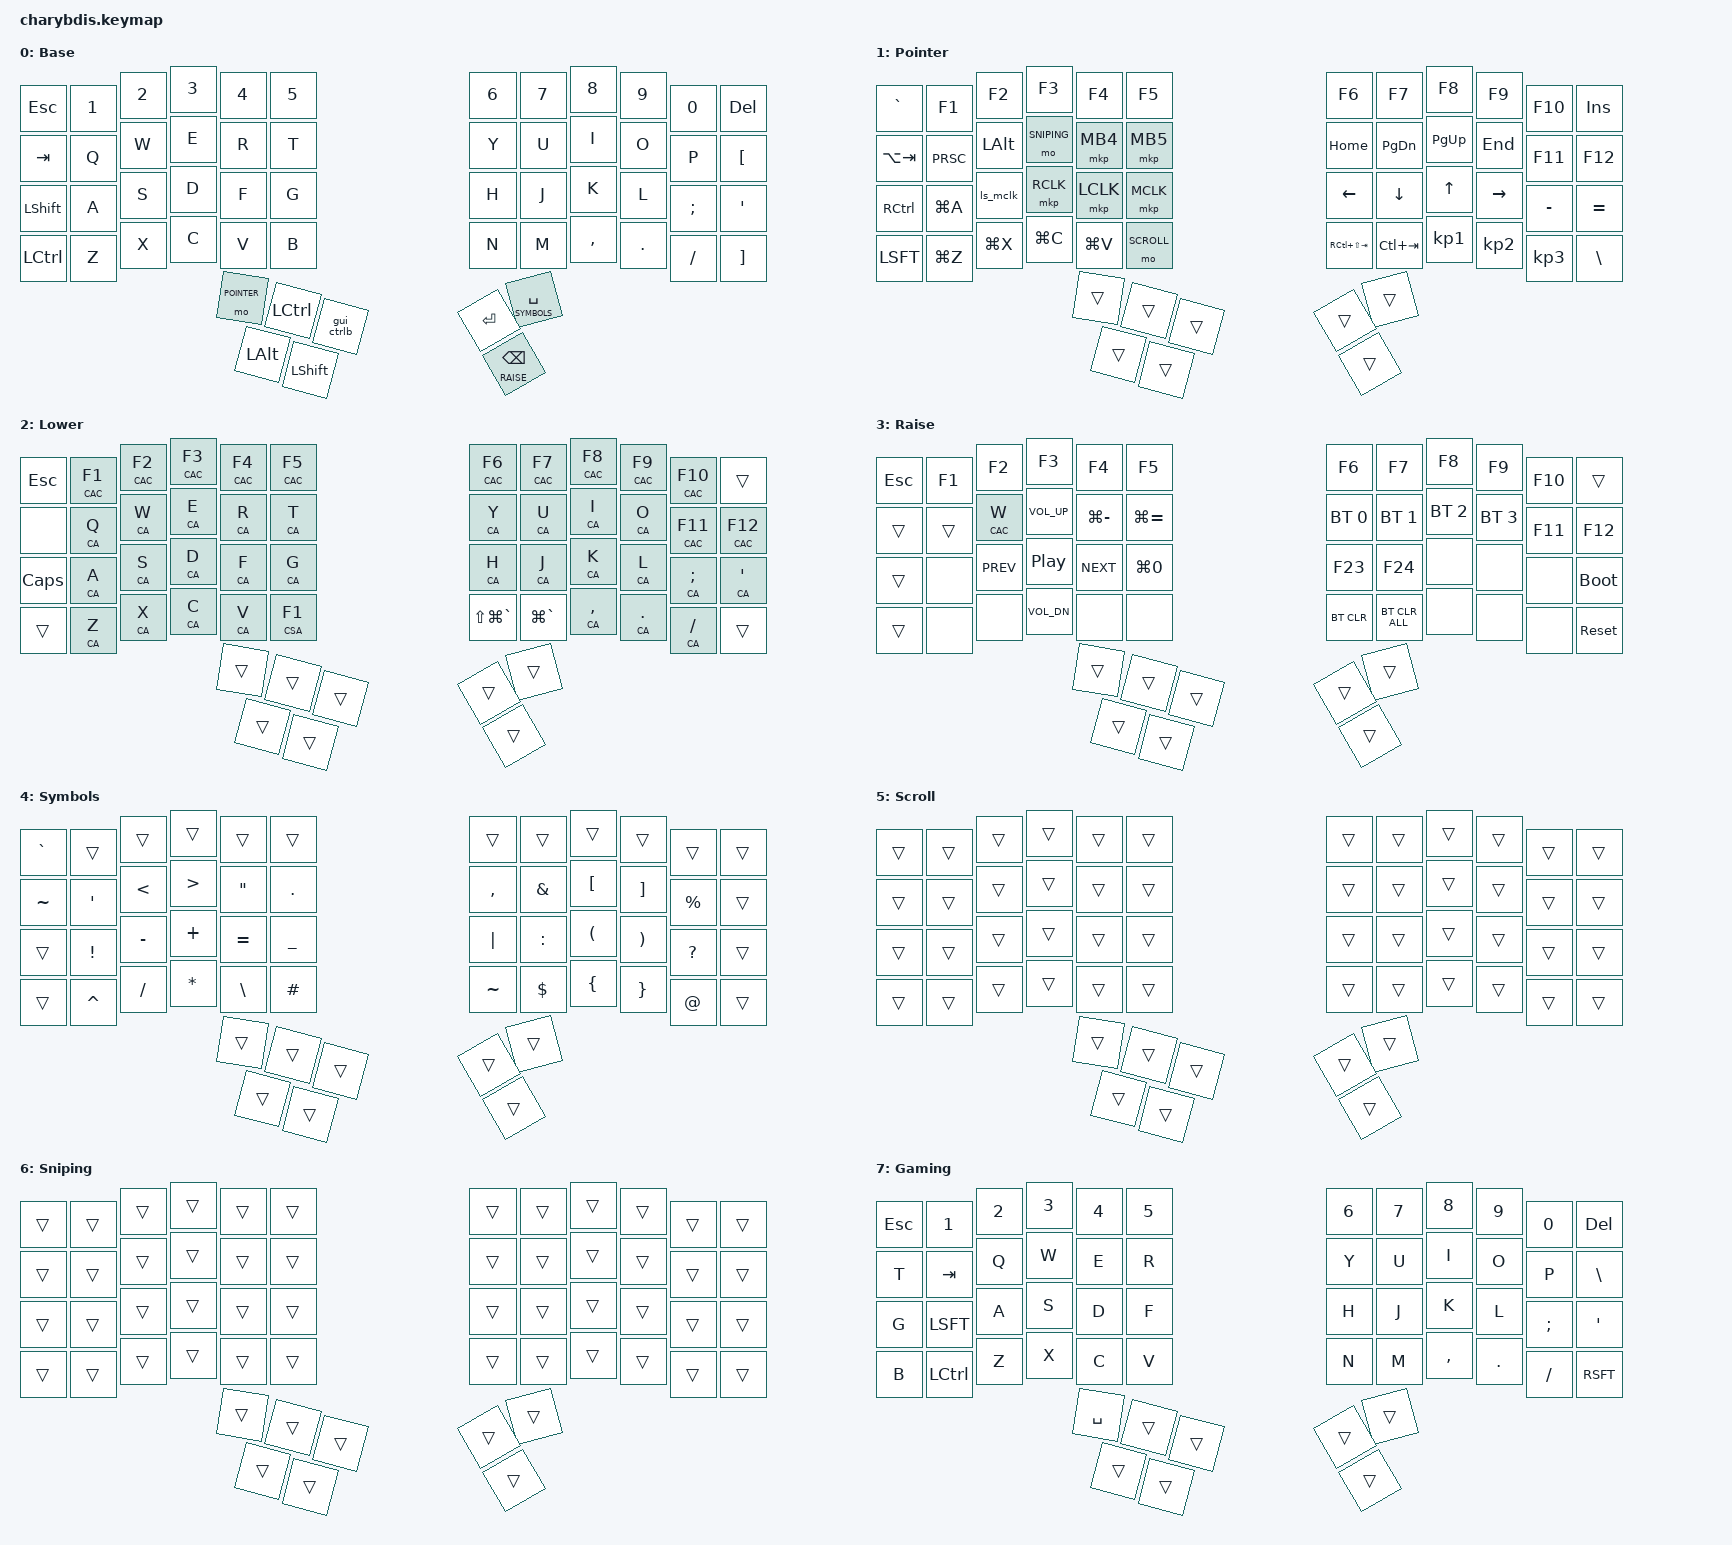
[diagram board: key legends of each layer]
#include <dt-bindings/zmk/mouse.h>
#include <behaviors/mouse_keys.dtsi>
#include <behaviors.dtsi>
#include <dt-bindings/zmk/bt.h>
#include <dt-bindings/zmk/keys.h>
#include <dt-bindings/zmk/outputs.h>
#include <dt-bindings/zmk/pointing.h>

/ {
    chosen { zmk,physical-layout = &charybdis_6col_layout; };
};

&mt {
    quick-tap-ms = <200>;
    flavor = "tap-preferred";
    tapping-term-ms = <170>;
};

&lt {
    quick-tap-ms = <200>;
    flavor = "tap-preferred";
    tapping-term-ms = <170>;
};

// Layer definitions
#define BASE 0
#define POINTER 1
#define LOWER 2
#define RAISE 3
#define SYMBOLS 4
#define SCROLL 5
#define SNIPING 6
#define GAMING 7

/ {
  behaviors {
    // Hold-tap behavior for layer with tap-preferred
    blt: blt {
      compatible = "zmk,behavior-hold-tap";
      #binding-cells = <2>;
      flavor = "tap-preferred";
      tapping-term-ms = <200>;
      quick-tap-ms = <300>;
      require-prior-idle-ms = <100>;
      bindings = <&mo>, <&kp>;
    };

    // Tap-dance for GUI/Ctrl+B
    gui_ctrlb: gui_ctrlb {
      compatible = "zmk,behavior-tap-dance";
      #binding-cells = <0>;
      tapping-term-ms = <200>;
      bindings = <&kp LGUI>, <&kp LC(B)>;
    };

    // Home row mods - Left hand
    hml: home_row_mod_left {
      compatible = "zmk,behavior-hold-tap";
      #binding-cells = <2>;
      flavor = "balanced";
      require-prior-idle-ms = <150>;
      tapping-term-ms = <280>;
      quick-tap-ms = <175>;
      bindings = <&kp>, <&kp>;
      hold-trigger-key-positions = <6 7 8 9 10 11 18 19 20 21 22 23 30 31 32 33 34 35 42 43 44 45 46 47 53 54 55>; // Right side keys
      hold-trigger-on-release;
    };

    // Home row mods - Right hand
    hmr: home_row_mod_right {
      compatible = "zmk,behavior-hold-tap";
      #binding-cells = <2>;
      flavor = "balanced";
      require-prior-idle-ms = <150>;
      tapping-term-ms = <280>;
      quick-tap-ms = <175>;
      bindings = <&kp>, <&kp>;
      hold-trigger-key-positions = <0 1 2 3 4 5 12 13 14 15 16 17 24 25 26 27 28 29 36 37 38 39 40 41 48 49 50 51 52>; // Left side keys
      hold-trigger-on-release;
    };
  };

  macros {
    // Ctrl+Alt+Cmd macro
    CAC: CAC {
      compatible = "zmk,behavior-macro-one-param";
      #binding-cells = <1>;
      bindings
        = <&macro_press &kp LCTRL &kp LALT &kp LGUI>
        , <&macro_param_1to1>
        , <&macro_tap &kp MACRO_PLACEHOLDER>
        , <&macro_release &kp LCTRL &kp LALT &kp LGUI>
        ;
    };

    // Ctrl+Shift+Alt macro
    CSA: CSA {
      compatible = "zmk,behavior-macro-one-param";
      #binding-cells = <1>;
      bindings
        = <&macro_press &kp LCTRL &kp LSHIFT &kp LALT>
        , <&macro_param_1to1>
        , <&macro_tap &kp MACRO_PLACEHOLDER>
        , <&macro_release &kp LCTRL &kp LSHIFT &kp LALT>
        ;
    };

    // Ctrl+Alt macro
    CA: CA {
      compatible = "zmk,behavior-macro-one-param";
      #binding-cells = <1>;
      bindings
        = <&macro_press &kp LCTRL &kp LALT>
        , <&macro_param_1to1>
        , <&macro_tap &kp MACRO_PLACEHOLDER>
        , <&macro_release &kp LCTRL &kp LALT>
        ;
    };

    // Shift+Middle Click macro
    ls_mclk: ls_mclk {
      compatible = "zmk,behavior-macro";
      wait-ms = <0>;
      tap-ms = <10>;
      #binding-cells = <0>;
      bindings
        = <&macro_press &kp LSHIFT>
        , <&macro_tap &mkp MCLK>
        , <&macro_release &kp LSHIFT>
        ;
    };
  };

  combos {
    compatible = "zmk,combos";
    timeout-ms = <20>;
    require-prior-idle-ms = <250>;

    // Studio Unlock Combo - all three right thumb keys
    combo_studio_unlock {
      timeout-ms = <50>;
      key-positions = <53 54 55>;
      bindings = <&studio_unlock>;
    };

    // Gaming layer toggle combo - keys 49, 55, 54
    combo_gaming_toggle {
      timeout-ms = <50>;
      key-positions = <49 55 54>;
      bindings = <&tog GAMING>;
    };

    // R + T     [
    combo_rt_lbracket {
      timeout-ms = <50>;
      key-positions = <16 17>;      
      bindings = <&kp LEFT_BRACKET>;
    };

    // Y + U    ]
    combo_yu_rbracket {
      timeout-ms = <50>;
      key-positions = <18 19>;
      bindings = <&kp RBKT>;
    };

    // F + G    (
    combo_fg_lparen {
      timeout-ms = <50>;
      key-positions = <28 29>;
      bindings = <&kp LPAR>;
    };

    // H + J    )
    combo_hj_rparen {
      timeout-ms = <50>;
      key-positions = <30 31>;
      bindings = <&kp RPAR>;
    };

    // V + B     {
    combo_vb_lbrace {
      timeout-ms = <50>;
      key-positions = <40 41>;
      bindings = <&kp LBRC>;
    };

    // N + M    }
    combo_nm_rbrace {
      timeout-ms = <50>;
      key-positions = <42 43>;
      bindings = <&kp RBRC>;
    };

    // W + E    +
    combo_we_plus {
      timeout-ms = <40>;
      key-positions = <14 15>;
      bindings = <&kp PLUS>;
    };

    // E + R    -
    combo_er_minus {
      timeout-ms = <40>;
      key-positions = <15 16>;
      bindings = <&kp MINUS>;
    };

    // S + D    *
    combo_sd_asterisk {
      timeout-ms = <40>;
      key-positions = <26 27>;
      bindings = <&kp ASTRK>;
    };

    // D + F    "
    combo_df_dquote {
      timeout-ms = <40>;
      key-positions = <27 28>;
      bindings = <&kp DQT>;
    };

    // J + K    '
    combo_jk_quote {
      timeout-ms = <40>;
      key-positions = <31 32>;
      bindings = <&kp SQT>;
    };

    // U + I    _
    combo_ui_underscore {
      timeout-ms = <40>;
      key-positions = <19 20>;
      bindings = <&kp UNDER>;
    };

    // I + O    |
    combo_io_pipe {
      timeout-ms = <40>;
      key-positions = <20 21>;
      bindings = <&kp PIPE>;
    };
   };

  keymap {
    compatible = "zmk,keymap";

// ╭─────────────┬─────────────┬─────────────┬─────────────┬─────────────┬─────────────╮   ╭─────────────┬─────────────┬─────────────┬─────────────┬─────────────┬─────────────╮
//    0             1             2             3             4             5                 6             7             8             9            10            11
// ├─────────────┼─────────────┼─────────────┼─────────────┼─────────────┼─────────────┤   ├─────────────┼─────────────┼─────────────┼─────────────┼─────────────┼─────────────┤
//   12            13            14            15            16            17                18            19            20            21            22            23
// ├─────────────┼─────────────┼─────────────┼─────────────┼─────────────┼─────────────┤   ├─────────────┼─────────────┼─────────────┼─────────────┼─────────────┼─────────────┤
//   24            25            26            27            28            29                30            31            32            33            34            35
// ├─────────────┼─────────────┼─────────────┼─────────────┼─────────────┼─────────────┤   ├─────────────┼─────────────┼─────────────┼─────────────┼─────────────┼─────────────┤
//   36            37            38            39            40            41                42            43            44            45            46            47
// ╰─────────────┴─────────────┴─────────────┴─────────────┴─────────────┴─────────────╯   ╰─────────────┴─────────────┴─────────────┴─────────────┴─────────────┴─────────────╯
//               ╭─────────────┬─────────────┬─────────────┬─────────────┬─────────────╮   ╭─────────────┬─────────────┬─────────────╮
//                  48            49            50            51            52                53            54            55
//               ╰─────────────┴─────────────┴─────────────┴─────────────┴─────────────╯   ╰─────────────┴─────────────┴─────────────╯
//                                                                         Actual Key Positions
//                                          ╭─────────────┬─────────────┬─────────────╮    ╭─────────────┬─────────────╮
//                                                48            49            50                 53            54
//                                          ╰─────────────┼─────────────┼─────────────┤    ├─────────────┼─────────────╯
//                                                              51            52                 55
//                                                        ╰─────────────┴─────────────╯    ╰─────────────╯

    base_layer {
      label = "BASE";
      display-name = "Base";
      bindings = <
        // ╭─────────────┬─────────────┬─────────────┬─────────────┬─────────────┬─────────────╮   ╭─────────────┬─────────────┬─────────────┬─────────────┬─────────────┬─────────────────╮
               &kp ESC       &kp N1         &kp N2        &kp N3        &kp N4        &kp N5            &kp N6        &kp N7        &kp N8        &kp N9        &kp N0       &kp DEL
        // ├─────────────┼─────────────┼─────────────┼─────────────┼─────────────┼─────────────┤   ├─────────────┼─────────────┼─────────────┼─────────────┼─────────────┼─────────────────┤
               &kp TAB       &kp Q          &kp W         &kp E         &kp R         &kp T             &kp Y         &kp U         &kp I         &kp O         &kp P      &kp LEFT_BRACKET
        // ├─────────────┼─────────────┼─────────────┼─────────────┼─────────────┼─────────────┤   ├─────────────┼─────────────┼─────────────┼─────────────┼─────────────┼─────────────────┤
              &kp LSHFT      &kp A          &kp S         &kp D         &kp F         &kp G             &kp H         &kp J         &kp K         &kp L       &kp SEMI      &kp APOS
        // ├─────────────┼─────────────┼─────────────┼─────────────┼─────────────┼─────────────┤   ├─────────────┼─────────────┼─────────────┼─────────────┼─────────────┼─────────────────┤
              &kp LCTRL      &kp Z          &kp X         &kp C         &kp V         &kp B             &kp N         &kp M      &kp COMMA      &kp DOT       &kp FSLH     &kp RIGHT_BRACKET
        // ╰─────────────┴─────────────┼─────────────┼─────────────┼─────────────┼─────────────┤   ├─────────────┼─────────────┼─────────────┼─────────────┼─────────────┴─────────────────╯
        //               ╭─────────────┬─────────────┬─────────────┬─────────────┬─────────────╮   ╭──────────────────┬───────────────────┬─────────────────╮
                           &gui_ctrlb      &kp LSHFT     &mo POINTER   &kp LCTRL    &kp LALT           &blt RAISE BSPC    &blt SYMBOLS SPACE    &kp RET             
        //               ╰─────────────┴─────────────┴─────────────┴─────────────┴─────────────╯   ╰──────────────────┴───────────────────┴─────────────────╯
      >;
    };

    pointer_layer {
      label = "POINTER";
      display-name = "Pointer";
      bindings = <
// ╭─────────────┬─────────────┬─────────────┬─────────────┬─────────────┬─────────────╮   ╭─────────────┬─────────────┬─────────────┬─────────────┬─────────────┬─────────────╮
    &kp GRAVE     &kp F1        &kp F2        &kp F3        &kp F4        &kp F5            &kp F6        &kp F7        &kp F8        &kp F9        &kp F10       &kp INS
// ├─────────────┼─────────────┼─────────────┼─────────────┼─────────────┼─────────────┤   ├─────────────┼─────────────┼─────────────┼─────────────┼─────────────┼─────────────┤
    &kp LA(TAB)   &kp PRSC      &kp LALT      &mo SNIPING   &mkp MB4      &mkp MB5          &kp HOME      &kp PG_DN     &kp PG_UP     &kp END       &kp F11       &kp F12
// ├─────────────┼─────────────┼─────────────┼─────────────┼─────────────┼─────────────┤   ├─────────────┼─────────────┼─────────────┼─────────────┼─────────────┼─────────────┤
    &kp RCTRL     &kp LG(A)     &ls_mclk      &mkp RCLK     &mkp LCLK     &mkp MCLK         &kp LEFT      &kp DOWN      &kp UP        &kp RIGHT     &kp MINUS     &kp EQUAL
// ├─────────────┼─────────────┼─────────────┼─────────────┼─────────────┼─────────────┤   ├─────────────┼─────────────┼─────────────┼─────────────┼─────────────┼─────────────┤
    &kp LSFT      &kp LG(Z)     &kp LG(X)     &kp LG(C)     &kp LG(V)     &mo SCROLL        &kp RC(LS(TAB)) &kp LC(TAB)   &kp KP_N1     &kp KP_N2     &kp KP_N3     &kp BSLH
// ╰─────────────┴─────────────┴─────────────┴─────────────┴─────────────┴─────────────╯   ╰─────────────┴─────────────┴─────────────┴─────────────┴─────────────┴─────────────╯
//               ╭─────────────┬─────────────┬─────────────┬─────────────┬─────────────╮   ╭─────────────┬─────────────┬─────────────╮
                  &trans        &trans        &trans        &trans        &trans               &trans        &trans        &trans
//               ╰─────────────┴─────────────┴─────────────┴─────────────┴─────────────╯   ╰─────────────┴─────────────┴─────────────╯
      >;
    };

    lower_layer {
      label = "LOWER";
      display-name = "Lower";
      bindings = <
// ╭─────────────┬─────────────┬─────────────┬─────────────┬─────────────┬─────────────╮   ╭─────────────┬─────────────┬─────────────┬─────────────┬─────────────┬─────────────╮
    &kp ESC       &CAC F1       &CAC F2       &CAC F3       &CAC F4       &CAC F5           &CAC F6       &CAC F7       &CAC F8       &CAC F9       &CAC F10      &trans
// ├─────────────┼─────────────┼─────────────┼─────────────┼─────────────┼─────────────┤   ├─────────────┼─────────────┼─────────────┼─────────────┼─────────────┼─────────────┤
    &none         &CA Q         &CA W         &CA E         &CA R         &CA T             &CA Y         &CA U         &CA I         &CA O         &CAC F11      &CAC F12
// ├─────────────┼─────────────┼─────────────┼─────────────┼─────────────┼─────────────┤   ├─────────────┼─────────────┼─────────────┼─────────────┼─────────────┼─────────────┤
    &kp CAPS      &CA A         &CA S         &CA D         &CA F         &CA G             &CA H         &CA J         &CA K         &CA L         &CA SEMI      &CA SQT
// ├─────────────┼─────────────┼─────────────┼─────────────┼─────────────┼─────────────┤   ├─────────────┼─────────────┼─────────────┼─────────────┼─────────────┼─────────────┤
    &trans        &CA Z         &CA X         &CA C         &CA V         &CSA F1           &kp LS(LG(GRAVE)) &kp LG(GRAVE) &CA COMMA     &CA DOT       &CA FSLH      &trans
// ╰─────────────┴─────────────┴─────────────┴─────────────┴─────────────┴─────────────╯   ╰─────────────┴─────────────┴─────────────┴─────────────┴─────────────┴─────────────╯
//               ╭─────────────┬─────────────┬─────────────┬─────────────┬─────────────╮   ╭─────────────┬─────────────┬─────────────╮
                  &trans        &trans        &trans        &trans        &trans            &trans        &trans        &trans
//               ╰─────────────┴─────────────┴─────────────┴─────────────┴─────────────╯   ╰─────────────┴─────────────┴─────────────╯
      >;
    };

    raise_layer {
      label = "RAISE";
      display-name = "Raise";
      bindings = <
// ╭─────────────┬─────────────┬─────────────┬─────────────┬─────────────┬─────────────╮   ╭─────────────┬─────────────┬─────────────┬─────────────┬─────────────┬─────────────╮
    &kp ESC       &kp F1        &kp F2        &kp F3        &kp F4        &kp F5            &kp F6        &kp F7        &kp F8        &kp F9        &kp F10       &trans
// ├─────────────┼─────────────┼─────────────┼─────────────┼─────────────┼─────────────┤   ├─────────────┼─────────────┼─────────────┼─────────────┼─────────────┼─────────────┤
    &trans        &trans       &CAC W        &kp C_VOL_UP  &kp LG(MINUS) &kp LG(EQUAL)     &bt BT_SEL 0  &bt BT_SEL 1  &bt BT_SEL 2  &bt BT_SEL 3  &kp F11       &kp F12
// ├─────────────┼─────────────┼─────────────┼─────────────┼─────────────┼─────────────┤   ├─────────────┼─────────────┼─────────────┼─────────────┼─────────────┼─────────────┤
    &trans        &none         &kp C_PREV    &kp C_PP      &kp C_NEXT    &kp LG(N0)        &kp F23       &kp F24       &none         &none         &none         &bootloader
// ├─────────────┼─────────────┼─────────────┼─────────────┼─────────────┼─────────────┤   ├─────────────┼─────────────┼─────────────┼─────────────┼─────────────┼─────────────┤
    &trans        &none         &none         &kp C_VOL_DN  &none         &none             &bt BT_CLR    &bt BT_CLR_ALL &none        &none         &none         &sys_reset
// ╰─────────────┴─────────────┴─────────────┴─────────────┴─────────────┴─────────────╯   ╰─────────────┴─────────────┴─────────────┴─────────────┴─────────────┴─────────────╯
//               ╭─────────────┬─────────────┬─────────────┬─────────────┬─────────────╮   ╭─────────────┬─────────────┬─────────────╮
                    &trans        &trans        &trans        &trans        &trans            &trans        &trans        &trans
//               ╰─────────────┴─────────────┴─────────────┴─────────────┴─────────────╯   ╰─────────────┴─────────────┴─────────────╯
      >;
    };

    symbols_layer {
      label = "SYMBOLS";
      display-name = "Symbols";
      bindings = <
// ╭─────────────┬─────────────┬─────────────┬─────────────┬─────────────┬─────────────╮   ╭─────────────┬─────────────┬─────────────┬─────────────┬─────────────┬─────────────╮
    &kp GRAVE     &trans        &trans        &trans        &trans        &trans            &trans        &trans        &trans        &trans        &trans        &trans
// ├─────────────┼─────────────┼─────────────┼─────────────┼─────────────┼─────────────┤   ├─────────────┼─────────────┼─────────────┼─────────────┼─────────────┼─────────────┤
    &kp TILDE     &kp SQT       &kp LT        &kp GT        &kp DQT       &kp DOT           &kp COMMA     &kp AMPS      &kp LBKT      &kp RBKT      &kp PRCNT     &trans
// ├─────────────┼─────────────┼─────────────┼─────────────┼─────────────┼─────────────┤   ├─────────────┼─────────────┼─────────────┼─────────────┼─────────────┼─────────────┤
    &trans        &kp EXCL      &kp MINUS     &kp PLUS      &kp EQUAL     &kp UNDER         &kp PIPE      &kp COLON     &kp LPAR      &kp RPAR      &kp QMARK     &trans
// ├─────────────┼─────────────┼─────────────┼─────────────┼─────────────┼─────────────┤   ├─────────────┼─────────────┼─────────────┼─────────────┼─────────────┼─────────────┤
    &trans        &kp CARET     &kp FSLH      &kp ASTRK     &kp BSLH      &kp HASH          &kp TILDE     &kp DLLR      &kp LBRC      &kp RBRC      &kp AT        &trans
// ╰─────────────┴─────────────┴─────────────┴─────────────┴─────────────┴─────────────╯   ╰─────────────┴─────────────┴─────────────┴─────────────┴─────────────┴─────────────╯
//               ╭─────────────┬─────────────┬─────────────┬─────────────┬─────────────╮   ╭─────────────┬─────────────┬─────────────╮
                    &trans        &trans        &trans        &trans        &trans            &trans        &trans        &trans
//               ╰─────────────┴─────────────┴─────────────┴─────────────┴─────────────╯   ╰─────────────┴─────────────┴─────────────╯
      >;
    };

    scroll_layer {
      label = "SCROLL";
      display-name = "Scroll";
      bindings = <
// ╭─────────────┬─────────────┬─────────────┬─────────────┬─────────────┬─────────────╮   ╭─────────────┬─────────────┬─────────────┬─────────────┬─────────────┬─────────────╮
    &trans        &trans        &trans        &trans        &trans        &trans            &trans        &trans        &trans        &trans        &trans        &trans
// ├─────────────┼─────────────┼─────────────┼─────────────┼─────────────┼─────────────┤   ├─────────────┼─────────────┼─────────────┼─────────────┼─────────────┼─────────────┤
    &trans        &trans        &trans        &trans        &trans        &trans            &trans        &trans        &trans        &trans        &trans        &trans
// ├─────────────┼─────────────┼─────────────┼─────────────┼─────────────┼─────────────┤   ├─────────────┼─────────────┼─────────────┼─────────────┼─────────────┼─────────────┤
    &trans        &trans        &trans        &trans        &trans        &trans            &trans        &trans        &trans        &trans        &trans        &trans
// ├─────────────┼─────────────┼─────────────┼─────────────┼─────────────┼─────────────┤   ├─────────────┼─────────────┼─────────────┼─────────────┼─────────────┼─────────────┤
    &trans        &trans        &trans        &trans        &trans        &trans            &trans        &trans        &trans        &trans        &trans        &trans
// ╰─────────────┴─────────────┴─────────────┴─────────────┴─────────────┴─────────────╯   ╰─────────────┴─────────────┴─────────────┴─────────────┴─────────────┴─────────────╯
//               ╭─────────────┬─────────────┬─────────────┬─────────────┬─────────────╮   ╭─────────────┬─────────────┬─────────────╮
                    &trans        &trans        &trans        &trans        &trans            &trans        &trans        &trans
//               ╰─────────────┴─────────────┴─────────────┴─────────────┴─────────────╯   ╰─────────────┴─────────────┴─────────────╯
      >;
    };

    sniping_layer {
      label = "SNIPING";
      display-name = "Sniping";
      bindings = <
// ╭─────────────┬─────────────┬─────────────┬─────────────┬─────────────┬─────────────╮   ╭─────────────┬─────────────┬─────────────┬─────────────┬─────────────┬─────────────╮
    &trans        &trans        &trans        &trans        &trans        &trans            &trans        &trans        &trans        &trans        &trans        &trans
// ├─────────────┼─────────────┼─────────────┼─────────────┼─────────────┼─────────────┤   ├─────────────┼─────────────┼─────────────┼─────────────┼─────────────┼─────────────┤
    &trans        &trans        &trans        &trans        &trans        &trans            &trans        &trans        &trans        &trans        &trans        &trans
// ├─────────────┼─────────────┼─────────────┼─────────────┼─────────────┼─────────────┤   ├─────────────┼─────────────┼─────────────┼─────────────┼─────────────┼─────────────┤
    &trans        &trans        &trans        &trans        &trans        &trans            &trans        &trans        &trans        &trans        &trans        &trans
// ├─────────────┼─────────────┼─────────────┼─────────────┼─────────────┼─────────────┤   ├─────────────┼─────────────┼─────────────┼─────────────┼─────────────┼─────────────┤
    &trans        &trans        &trans        &trans        &trans        &trans            &trans        &trans        &trans        &trans        &trans        &trans
// ╰─────────────┴─────────────┴─────────────┴─────────────┴─────────────┴─────────────╯   ╰─────────────┴─────────────┴─────────────┴─────────────┴─────────────┴─────────────╯
//               ╭─────────────┬─────────────┬─────────────┬─────────────┬─────────────╮   ╭─────────────┬─────────────┬─────────────╮
                    &trans        &trans        &trans        &trans        &trans            &trans        &trans        &trans
//               ╰─────────────┴─────────────┴─────────────┴─────────────┴─────────────╯   ╰─────────────┴─────────────┴─────────────╯
      >;
    };

    gaming_layer {
      label = "GAMING";
      display-name = "Gaming";
      bindings = <
// ╭─────────────┬─────────────┬─────────────┬─────────────┬─────────────┬─────────────╮   ╭─────────────┬─────────────┬─────────────┬─────────────┬─────────────┬─────────────╮
    &kp ESC       &kp N1       &kp N2        &kp N3        &kp N4        &kp N5            &kp N6        &kp N7        &kp N8        &kp N9        &kp N0        &kp DEL
// ├─────────────┼─────────────┼─────────────┼─────────────┼─────────────┼─────────────┤   ├─────────────┼─────────────┼─────────────┼─────────────┼─────────────┼─────────────┤
    &kp T        &kp TAB       &kp Q         &kp W         &kp E         &kp R             &kp Y         &kp U         &kp I         &kp O         &kp P         &kp BSLH
// ├─────────────┼─────────────┼─────────────┼─────────────┼─────────────┼─────────────┤   ├─────────────┼─────────────┼─────────────┼─────────────┼─────────────┼─────────────┤
    &kp G        &kp LSFT      &kp A         &kp S         &kp D         &kp F             &kp H         &kp J         &kp K         &kp L         &kp SEMI      &kp SQT
// ├─────────────┼─────────────┼─────────────┼─────────────┼─────────────┼─────────────┤   ├─────────────┼─────────────┼─────────────┼─────────────┼─────────────┼─────────────┤
    &kp B        &kp LCTRL     &kp Z         &kp X         &kp C         &kp V             &kp N         &kp M         &kp COMMA     &kp DOT       &kp FSLH      &kp RSFT
// ╰─────────────┴─────────────┴─────────────┴─────────────┴─────────────┴─────────────╯   ╰─────────────┴─────────────┴─────────────┴─────────────┴─────────────┴─────────────╯
//               ╭─────────────┬─────────────┬─────────────┬─────────────┬─────────────╮   ╭─────────────┬─────────────┬─────────────╮
                  &trans        &trans        &kp SPACE     &trans        &trans            &trans        &trans        &trans
//               ╰─────────────┴─────────────┴─────────────┴─────────────┴─────────────╯   ╰─────────────┴─────────────┴─────────────╯
      >;
    };
  };
};
